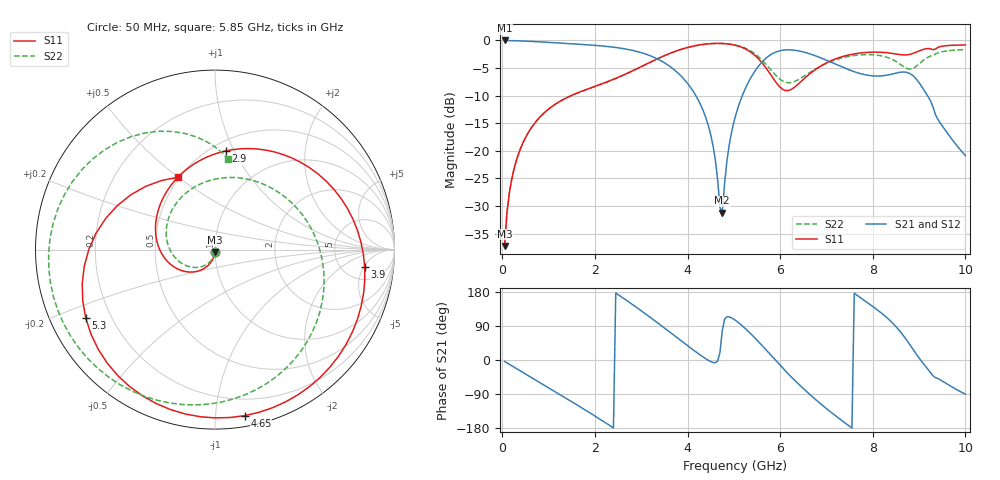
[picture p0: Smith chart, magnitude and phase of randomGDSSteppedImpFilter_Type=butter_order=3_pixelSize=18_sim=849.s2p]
! freq	dB(S11)	phase(S11)	dB(S12)	phase(S12)
!  dB(S21)	phase(S21)	dB(S22)	phase(S22)
!S-par simulation data
#  GHz  S  DB  R 50
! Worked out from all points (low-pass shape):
!   200 points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, 50 MHz to 10 GHz, reference 50 ohm
!   highest |S21| = -0.01 dB at 50 MHz (marker M1); lowest = -31.2 dB at 4.75 GHz (marker M2)
!   |S21| within 3 dB of the highest: start of sweep to 3.262 GHz; 5.725 GHz to 6.832 GHz (1.107 GHz wide, 17.6 % of centre)
!   lowest |S11| = -37.2 dB at 50 MHz (marker M3), VSWR 1.03, Z = 49.9 - j1.37 ohm
!   |S11| at or under -10 dB: start of sweep to 1.485 GHz
!   |S22| runs from -37.3 to -0.5 dB; largest |S21 - S12| = 0
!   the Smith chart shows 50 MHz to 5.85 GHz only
!   S11 on the Smith chart (normalised r, x): 50 MHz: 1.00, -0.03; 2.9 GHz: 0.58, +0.93; 3.9 GHz: 7.91, -5.29; 4.65 GHz: 0.08, -1.19; 5.3 GHz: 0.11, -0.25; 5.85 GHz: 0.49, +0.50
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0.05  -37.24 -91.8  -0.01 -3.8  -0.01 -3.8  -37.25 -92.7
0.5  -17.62 -122.6  -0.13 -37.0  -0.13 -37.0  -17.64 -131.9
1.15  -11.51 -163.4  -0.43 -84.4  -0.43 -84.4  -11.54 173.3
1.75  -9.09 160.8  -0.75 -128.7  -0.75 -128.7  -9.13 120.5
2.35  -7.21 123.7  -1.18 -175.2  -1.18 -175.2  -7.26 64.4
2.9  -5.15 83.9  -1.99 138.8  -1.99 138.8  -5.19 11.9
3.4  -3.13 40.8  -3.57 93.8  -3.57 93.8  -3.16 -35.5
3.9  -1.52 -6.7  -6.81 47.1  -6.81 47.1  -1.54 -82.7
4.65  -0.54 -79.8  -25.21 -2.8  -25.21 -2.8  -0.55 -153.9
4.75  -0.56 -89.9  -31.21 77.2  -31.21 77.2  -0.56 -163.7
5.05  -0.92 -121.9  -13.26 103.3  -13.26 103.3  -0.87 165.4
5.3  -1.78 -152.1  -7.81 77.1  -7.81 77.1  -1.62 137.9
5.85  -6.88 117.2  -2.33 5.9  -2.33 5.9  -5.81 82.0
6.3  -8.54 12.7  -1.77 -51.9  -1.77 -51.9  -7.47 58.4
6.7  -5.65 -44.4  -2.60 -97.3  -2.60 -97.3  -5.50 22.8
7.15  -3.49 -82.2  -4.13 -142.9  -4.13 -142.9  -3.65 -29.3
7.65  -2.37 -112.8  -5.81 171.9  -5.81 171.9  -2.68 -86.8
8.35  -2.28 -145.2  -6.22 106.7  -6.22 106.7  -3.18 -178.9
8.7  -2.63 -154.4  -5.74 58.1  -5.74 58.1  -4.94 93.1
9  -1.91 -160.3  -7.65 5.2  -7.65 5.2  -4.25 -17.3
9.4  -1.31 -173.6  -14.24 -48.7  -14.24 -48.7  -2.28 -103.4
10  -0.83 162.0  -20.84 -90.1  -20.84 -90.1  -1.67 -167.9
